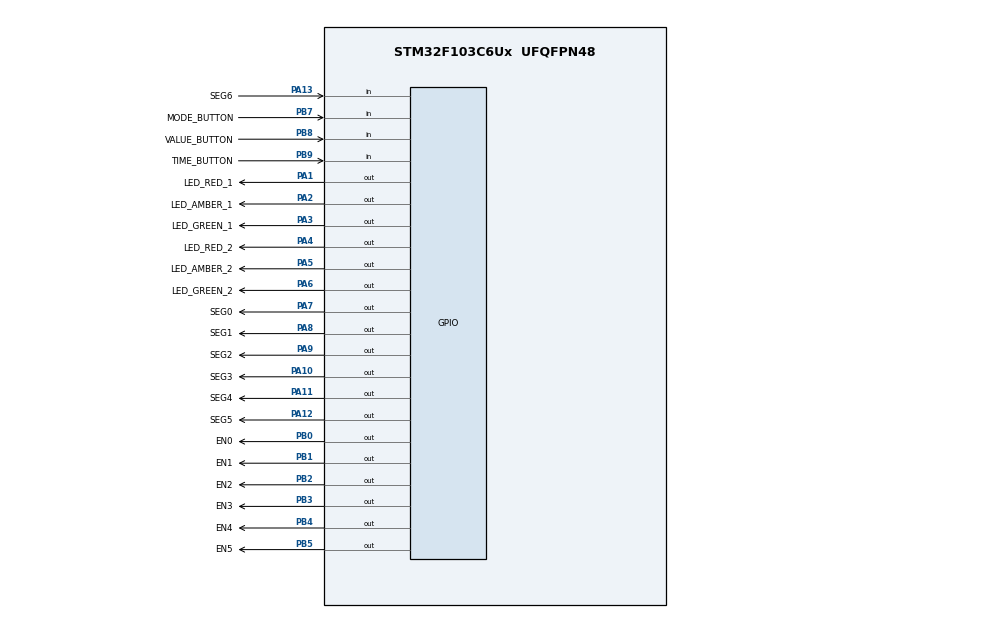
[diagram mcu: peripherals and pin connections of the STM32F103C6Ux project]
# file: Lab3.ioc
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Mcu.Family=STM32F1
Mcu.Name=STM32F103C6Ux
Mcu.Package=UFQFPN48
NVIC.PriorityGroup=NVIC_PRIORITYGROUP_4
NVIC.TIM2_IRQn=true\:0\:0\:false\:false\:true\:true\:true
PA1.GPIO_Label=LED_RED_1
PA1.Signal=GPIO_Output
PA10.GPIO_Label=SEG3
PA10.Signal=GPIO_Output
PA11.GPIO_Label=SEG4
PA11.Signal=GPIO_Output
PA12.GPIO_Label=SEG5
PA12.Signal=GPIO_Output
PA13.GPIO_Label=SEG6
PA13.GPIO_PuPd=GPIO_PULLUP
PA13.Signal=GPIO_Input
PA2.GPIO_Label=LED_AMBER_1
PA2.Signal=GPIO_Output
PA3.GPIO_Label=LED_GREEN_1
PA3.Signal=GPIO_Output
PA4.GPIO_Label=LED_RED_2
PA4.Signal=GPIO_Output
PA5.GPIO_Label=LED_AMBER_2
PA5.Signal=GPIO_Output
PA6.GPIO_Label=LED_GREEN_2
PA6.Signal=GPIO_Output
PA7.GPIO_Label=SEG0
PA7.Signal=GPIO_Output
PA8.GPIO_Label=SEG1
PA8.Signal=GPIO_Output
PA9.GPIO_Label=SEG2
PA9.Signal=GPIO_Output
PB0.GPIO_Label=EN0
PB0.Signal=GPIO_Output
PB1.GPIO_Label=EN1
PB1.Signal=GPIO_Output
PB2.GPIO_Label=EN2
PB2.Signal=GPIO_Output
PB3.GPIO_Label=EN3
PB3.Signal=GPIO_Output
PB4.GPIO_Label=EN4
PB4.Signal=GPIO_Output
PB5.GPIO_Label=EN5
PB5.Signal=GPIO_Output
PB7.GPIO_Label=MODE_BUTTON
PB7.GPIO_PuPd=GPIO_PULLUP
PB7.Signal=GPIO_Input
PB8.GPIO_Label=VALUE_BUTTON
PB8.GPIO_PuPd=GPIO_PULLUP
PB8.Signal=GPIO_Input
PB9.GPIO_Label=TIME_BUTTON
PB9.GPIO_PuPd=GPIO_PULLUP
PB9.Signal=GPIO_Input
ProjectManager.HeapSize=0x200
ProjectManager.StackSize=0x400
ProjectManager.TargetToolchain=STM32CubeIDE
RCC.APB1Freq_Value=8000000
RCC.APB2Freq_Value=8000000
TIM2.Period=9
TIM2.Prescaler=7999
VP_SYS_VS_ND.Mode=No_Debug
VP_TIM2_VS_ClockSourceINT.Mode=Internal
board=custom

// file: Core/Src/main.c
/* USER CODE BEGIN Header */
/**
  ******************************************************************************
  * @file           : main.c
  * @brief          : Main program body
  ******************************************************************************
  * @attention
  *
  * <h2><center>&copy; Copyright (c) 2024 STMicroelectronics.
  * All rights reserved.</center></h2>
  *
  * This software component is licensed by ST under BSD 3-Clause license,
  * the "License"; You may not use this file except in compliance with the
  * License. You may obtain a copy of the License at:
  *                        opensource.org/licenses/BSD-3-Clause
  *
  ******************************************************************************
  */
/* USER CODE END Header */
#include <button.h>
#include "main.h"
#include "scheduler.h"

/* USER CODE BEGIN Includes */
#include "software_timer.h"
#include "fsm_auto.h"
#include "fsm_man.h"
/* USER CODE END Includes */

TIM_HandleTypeDef htim2;

void SystemClock_Config(void);
static void MX_TIM2_Init(void);
static void MX_GPIO_Init(void);

/* USER CODE BEGIN 0 */
void ledtest1(void){
	HAL_GPIO_TogglePin(GPIOA, GPIO_PIN_1);
		HAL_GPIO_TogglePin(GPIOA, GPIO_PIN_4);
		HAL_GPIO_WritePin(GPIOA, GPIO_PIN_2, 0);
		HAL_GPIO_WritePin(GPIOA, GPIO_PIN_3, 0);
		HAL_GPIO_WritePin(GPIOA, GPIO_PIN_5, 0);
		HAL_GPIO_WritePin(GPIOA, GPIO_PIN_6, 0);
}
/* USER CODE END 0 */

int main(void)
{

  /* MCU Configuration--------------------------------------------------------*/

  /* Reset of all peripherals, Initializes the Flash interface and the Systick. */
  HAL_Init();

  /* Configure the system clock */
  SystemClock_Config();

  /* Initialize all configured peripherals */
  MX_TIM2_Init();
  MX_GPIO_Init();
  /* USER CODE BEGIN 2 */
//  HAL_GPIO_WritePin(GPIOA, GPIO_PIN_1 || GPIO_PIN_2 || GPIO_PIN_3 || GPIO_PIN_4
//		  || GPIO_PIN_5 || GPIO_PIN_6, 0);
//  HAL_GPIO_WritePin(GPIOB, GPIO_PIN_0, 1);
//  HAL_GPIO_WritePin(GPIOB, GPIO_PIN_1, 1);
//  HAL_GPIO_WritePin(GPIOB, GPIO_PIN_2, 1);
//  HAL_GPIO_WritePin(GPIOB, GPIO_PIN_3, 1);
//  HAL_GPIO_WritePin(GPIOB, GPIO_PIN_4, 1);
//  HAL_GPIO_WritePin(GPIOB, GPIO_PIN_5, 1);
//  OFF();
  HAL_TIM_Base_Start_IT(&htim2);
  /* USER CODE END 2 */

  /* Infinite loop */
  /* USER CODE BEGIN WHILE */
//  SCH_Add_Task(BlinkRED1, 0, 500);
//  mode = 1;
//  SCH_Add_Task(ledtest1, 1000, 2000);
//  SCH_Add_Task(LED7, 0, 250);
  SCH_Init();
  status = INIT;
  SCH_Add_Task(LED7, 1000, 250);
  SCH_Add_Task(fsm_auto_run, 0, 1000);
  SCH_Add_Task(fsm_man_run, 0, 1000);

  while (1)
  {
//	  fsm_auto_run();
//	  fsm_man_run();
	  SCH_Dispatch_Tasks();

    /* USER CODE END WHILE */

  }
}

void SystemClock_Config(void)
{
  RCC_OscInitTypeDef RCC_OscInitStruct = {0};
  RCC_ClkInitTypeDef RCC_ClkInitStruct = {0};

  /** Initializes the RCC Oscillators according to the specified parameters
  * in the RCC_OscInitTypeDef structure.
  */
  RCC_OscInitStruct.OscillatorType = RCC_OSCILLATORTYPE_HSI;
  RCC_OscInitStruct.HSIState = RCC_HSI_ON;
  RCC_OscInitStruct.HSICalibrationValue = RCC_HSICALIBRATION_DEFAULT;
  RCC_OscInitStruct.PLL.PLLState = RCC_PLL_NONE;
  if (HAL_RCC_OscConfig(&RCC_OscInitStruct) != HAL_OK)
  {
    Error_Handler();
  }
  /** Initializes the CPU, AHB and APB buses clocks
  */
  RCC_ClkInitStruct.ClockType = RCC_CLOCKTYPE_HCLK|RCC_CLOCKTYPE_SYSCLK
                              |RCC_CLOCKTYPE_PCLK1|RCC_CLOCKTYPE_PCLK2;
  RCC_ClkInitStruct.SYSCLKSource = RCC_SYSCLKSOURCE_HSI;
  RCC_ClkInitStruct.AHBCLKDivider = RCC_SYSCLK_DIV1;
  RCC_ClkInitStruct.APB1CLKDivider = RCC_HCLK_DIV1;
  RCC_ClkInitStruct.APB2CLKDivider = RCC_HCLK_DIV1;

  if (HAL_RCC_ClockConfig(&RCC_ClkInitStruct, FLASH_LATENCY_0) != HAL_OK)
  {
    Error_Handler();
  }
}

static void MX_TIM2_Init(void)
{

  TIM_ClockConfigTypeDef sClockSourceConfig = {0};
  TIM_MasterConfigTypeDef sMasterConfig = {0};

  htim2.Instance = TIM2;
  htim2.Init.Prescaler = 7999;
  htim2.Init.CounterMode = TIM_COUNTERMODE_UP;
  htim2.Init.Period = 9;
  htim2.Init.ClockDivision = TIM_CLOCKDIVISION_DIV1;
  htim2.Init.AutoReloadPreload = TIM_AUTORELOAD_PRELOAD_DISABLE;
  if (HAL_TIM_Base_Init(&htim2) != HAL_OK)
  {
    Error_Handler();
  }
  sClockSourceConfig.ClockSource = TIM_CLOCKSOURCE_INTERNAL;
  if (HAL_TIM_ConfigClockSource(&htim2, &sClockSourceConfig) != HAL_OK)
  {
    Error_Handler();
  }
  sMasterConfig.MasterOutputTrigger = TIM_TRGO_RESET;
  sMasterConfig.MasterSlaveMode = TIM_MASTERSLAVEMODE_DISABLE;
  if (HAL_TIMEx_MasterConfigSynchronization(&htim2, &sMasterConfig) != HAL_OK)
  {
    Error_Handler();
  }

}

static void MX_GPIO_Init(void)
{
  GPIO_InitTypeDef GPIO_InitStruct = {0};

  /* GPIO Ports Clock Enable */
  __HAL_RCC_GPIOA_CLK_ENABLE();
  __HAL_RCC_GPIOB_CLK_ENABLE();

  /*Configure GPIO pin Output Level */
  HAL_GPIO_WritePin(GPIOA, LED_RED_1_Pin|LED_AMBER_1_Pin|LED_GREEN_1_Pin|LED_RED_2_Pin
                          |LED_AMBER_2_Pin|LED_GREEN_2_Pin|SEG0_Pin|SEG1_Pin
                          |SEG2_Pin|SEG3_Pin|SEG4_Pin|SEG5_Pin, GPIO_PIN_RESET);

  /*Configure GPIO pin Output Level */
  HAL_GPIO_WritePin(GPIOB, EN0_Pin|EN1_Pin|EN2_Pin|EN3_Pin
                          |EN4_Pin|EN5_Pin, GPIO_PIN_RESET);

  /*Configure GPIO pins : LED_RED_1_Pin LED_AMBER_1_Pin LED_GREEN_1_Pin LED_RED_2_Pin
                           LED_AMBER_2_Pin LED_GREEN_2_Pin SEG0_Pin SEG1_Pin
                           SEG2_Pin SEG3_Pin SEG4_Pin SEG5_Pin */
  GPIO_InitStruct.Pin = LED_RED_1_Pin|LED_AMBER_1_Pin|LED_GREEN_1_Pin|LED_RED_2_Pin
                          |LED_AMBER_2_Pin|LED_GREEN_2_Pin|SEG0_Pin|SEG1_Pin
                          |SEG2_Pin|SEG3_Pin|SEG4_Pin|SEG5_Pin;
  GPIO_InitStruct.Mode = GPIO_MODE_OUTPUT_PP;
  GPIO_InitStruct.Pull = GPIO_NOPULL;
  GPIO_InitStruct.Speed = GPIO_SPEED_FREQ_LOW;
  HAL_GPIO_Init(GPIOA, &GPIO_InitStruct);

  /*Configure GPIO pins : EN0_Pin EN1_Pin EN2_Pin EN3_Pin
                           EN4_Pin EN5_Pin */
  GPIO_InitStruct.Pin = EN0_Pin|EN1_Pin|EN2_Pin|EN3_Pin
                          |EN4_Pin|EN5_Pin;
  GPIO_InitStruct.Mode = GPIO_MODE_OUTPUT_PP;
  GPIO_InitStruct.Pull = GPIO_NOPULL;
  GPIO_InitStruct.Speed = GPIO_SPEED_FREQ_LOW;
  HAL_GPIO_Init(GPIOB, &GPIO_InitStruct);

  /*Configure GPIO pin : SEG6_Pin */
  GPIO_InitStruct.Pin = SEG6_Pin;
  GPIO_InitStruct.Mode = GPIO_MODE_INPUT;
  GPIO_InitStruct.Pull = GPIO_PULLUP;
  HAL_GPIO_Init(SEG6_GPIO_Port, &GPIO_InitStruct);

  /*Configure GPIO pins : MODE_BUTTON_Pin VALUE_BUTTON_Pin TIME_BUTTON_Pin */
  GPIO_InitStruct.Pin = MODE_BUTTON_Pin|VALUE_BUTTON_Pin|TIME_BUTTON_Pin;
  GPIO_InitStruct.Mode = GPIO_MODE_INPUT;
  GPIO_InitStruct.Pull = GPIO_PULLUP;
  HAL_GPIO_Init(GPIOB, &GPIO_InitStruct);

}

/* USER CODE BEGIN 4 */
void HAL_TIM_PeriodElapsedCallback (TIM_HandleTypeDef * htim){
//	timerRun();
	getKeyInput1();
	SCH_Update();
}
/* USER CODE END 4 */

void Error_Handler(void)
{
  __disable_irq();
  while (1)
  {
  }
}

/************************ (C) COPYRIGHT STMicroelectronics *****END OF FILE****/
